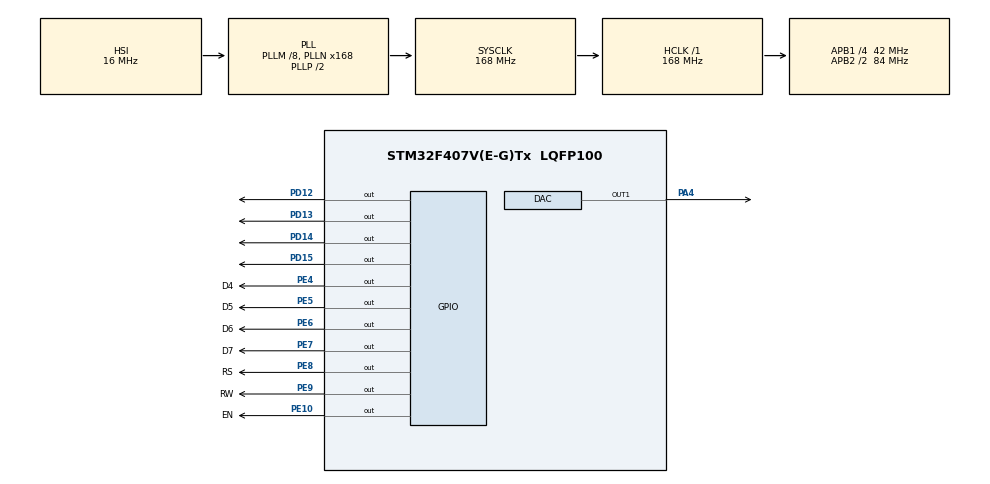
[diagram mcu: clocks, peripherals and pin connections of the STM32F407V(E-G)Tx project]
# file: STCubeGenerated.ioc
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Mcu.Family=STM32F4
Mcu.Name=STM32F407V(E-G)Tx
Mcu.Package=LQFP100
NVIC.PriorityGroup=NVIC_PRIORITYGROUP_4
PA4.Signal=COMP_DAC1_group
PD12.Signal=GPIO_Output
PD13.Signal=GPIO_Output
PD14.Signal=GPIO_Output
PD15.Signal=GPIO_Output
PE10.GPIO_Label=EN
PE10.GPIO_ModeDefaultOutputPP=GPIO_MODE_OUTPUT_PP
PE10.GPIO_PuPd=GPIO_NOPULL
PE10.Signal=GPIO_Output
PE4.GPIO_Label=D4
PE4.GPIO_ModeDefaultOutputPP=GPIO_MODE_OUTPUT_PP
PE4.GPIO_PuPd=GPIO_NOPULL
PE4.Signal=GPIO_Output
PE5.GPIO_Label=D5
PE5.GPIO_ModeDefaultOutputPP=GPIO_MODE_OUTPUT_PP
PE5.GPIO_PuPd=GPIO_NOPULL
PE5.Signal=GPIO_Output
PE6.GPIO_Label=D6
PE6.GPIO_ModeDefaultOutputPP=GPIO_MODE_OUTPUT_PP
PE6.GPIO_PuPd=GPIO_NOPULL
PE6.Signal=GPIO_Output
PE7.GPIO_Label=D7
PE7.GPIO_ModeDefaultOutputPP=GPIO_MODE_OUTPUT_PP
PE7.GPIO_PuPd=GPIO_NOPULL
PE7.Signal=GPIO_Output
PE8.GPIO_Label=RS
PE8.GPIO_ModeDefaultOutputPP=GPIO_MODE_OUTPUT_PP
PE8.GPIO_PuPd=GPIO_NOPULL
PE8.Signal=GPIO_Output
PE9.GPIO_Label=RW
PE9.GPIO_ModeDefaultOutputPP=GPIO_MODE_OUTPUT_PP
PE9.GPIO_PuPd=GPIO_NOPULL
PE9.Signal=GPIO_Output
PH0-OSC_IN.Mode=HSE-External-Oscillator
PH0-OSC_IN.Signal=RCC_OSC_IN
PH1-OSC_OUT.Mode=HSE-External-Oscillator
PH1-OSC_OUT.Signal=RCC_OSC_OUT
ProjectManager.HeapSize=0x200
ProjectManager.StackSize=0x400
ProjectManager.TargetToolchain=MDK-ARM V5
RCC.48MHZClocksFreq_Value=84000000
RCC.AHBFreq_Value=168000000
RCC.APB1CLKDivider=RCC_HCLK_DIV4
RCC.APB1Freq_Value=42000000
RCC.APB1TimFreq_Value=84000000
RCC.APB2CLKDivider=RCC_HCLK_DIV2
RCC.APB2Freq_Value=84000000
RCC.APB2TimFreq_Value=168000000
RCC.CortexFreq_Value=168000000
RCC.HCLKFreq_Value=168000000
RCC.HSE_VALUE=8000000
RCC.HSI_VALUE=16000000
RCC.LSE_VALUE=32768
RCC.PLLM=8
RCC.PLLN=168
RCC.SYSCLKFreq_VALUE=168000000
RCC.SYSCLKSource=RCC_SYSCLKSOURCE_PLLCLK
RCC.VCOOutputFreq_Value=336000000
SH.COMP_DAC1_group.0=DAC_OUT1,DAC_OUT1
board=custom

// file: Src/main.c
/* USER CODE BEGIN Header */
/**
  ******************************************************************************
  * @file           : main.c
  * @brief          : Main program body
  ******************************************************************************
  * @attention
  *
  * Copyright (c) 2023 STMicroelectronics.
  * All rights reserved.
  *
  * This software is licensed under terms that can be found in the LICENSE file
  * in the root directory of this software component.
  * If no LICENSE file comes with this software, it is provided AS-IS.
  *
  ******************************************************************************
  */
/* USER CODE END Header */
#include "main.h"

/* USER CODE BEGIN Includes */
#include "lcd.h"
#include "stdio.h"

/* USER CODE END Includes */

DAC_HandleTypeDef hdac;

void SystemClock_Config(void);
static void MX_GPIO_Init(void);
static void MX_DAC_Init(void);

int main(void)
{

  /* MCU Configuration--------------------------------------------------------*/

  /* Reset of all peripherals, Initializes the Flash interface and the Systick. */
  HAL_Init();

  /* Configure the system clock */
  SystemClock_Config();

  /* Initialize all configured peripherals */
  MX_GPIO_Init();
  MX_DAC_Init();
  /* USER CODE BEGIN 2 */

	// lcd_init
	HAL_GPIO_WritePin(RW_GPIO_Port, RW_Pin, 0);
	Lcd_PortType ports[] = { D4_GPIO_Port, D5_GPIO_Port, D6_GPIO_Port, D7_GPIO_Port };
	Lcd_PinType pins[] = {D4_Pin, D5_Pin, D6_Pin, D7_Pin};
	Lcd_HandleTypeDef lcd;
	lcd = Lcd_create(ports, pins, RS_GPIO_Port, RS_Pin, EN_GPIO_Port, EN_Pin, LCD_4_BIT_MODE);

	// write something and wait 3sec
	Lcd_string(&lcd, "BANU Embedded Sys.");
	Lcd_cursor(&lcd, 1,6);
	Lcd_int(&lcd, 2023);
	HAL_Delay(1000);

  /* USER CODE END 2 */

  /* Infinite loop */
  /* USER CODE BEGIN WHILE */

	char str[16];
	uint32_t temp=0;
	float temp2=0;
	int i;
	i=0;

  while (1)
  {

		Lcd_clear(&lcd);
		__HAL_DAC_ENABLE(&hdac, DAC_CHANNEL_1);

		for (i=0; i<5; i++)
		{

			HAL_DAC_SetValue(&hdac, DAC_CHANNEL_1, DAC_ALIGN_12B_R, ~temp);

			temp2=temp*3.0/4096;

			Lcd_cursor(&lcd, 0,0);
			snprintf(str, 16, "DAC value");
			Lcd_string(&lcd, str);
			Lcd_cursor(&lcd, 1,0);
			snprintf(str, 16, "%d = %f", temp, temp2);
			Lcd_string(&lcd, str);
			HAL_Delay(4000);

			temp+=1000;
		}
		temp=0;
		temp2=0;

		__HAL_DAC_DISABLE(&hdac, DAC_CHANNEL_1);

    /* USER CODE END WHILE */

  }
}

void SystemClock_Config(void)
{
  RCC_OscInitTypeDef RCC_OscInitStruct = {0};
  RCC_ClkInitTypeDef RCC_ClkInitStruct = {0};

  /** Configure the main internal regulator output voltage
  */
  __HAL_RCC_PWR_CLK_ENABLE();
  __HAL_PWR_VOLTAGESCALING_CONFIG(PWR_REGULATOR_VOLTAGE_SCALE1);

  /** Initializes the RCC Oscillators according to the specified parameters
  * in the RCC_OscInitTypeDef structure.
  */
  RCC_OscInitStruct.OscillatorType = RCC_OSCILLATORTYPE_HSI;
  RCC_OscInitStruct.HSIState = RCC_HSI_ON;
  RCC_OscInitStruct.HSICalibrationValue = RCC_HSICALIBRATION_DEFAULT;
  RCC_OscInitStruct.PLL.PLLState = RCC_PLL_ON;
  RCC_OscInitStruct.PLL.PLLSource = RCC_PLLSOURCE_HSI;
  RCC_OscInitStruct.PLL.PLLM = 8;
  RCC_OscInitStruct.PLL.PLLN = 168;
  RCC_OscInitStruct.PLL.PLLP = RCC_PLLP_DIV2;
  RCC_OscInitStruct.PLL.PLLQ = 4;
  if (HAL_RCC_OscConfig(&RCC_OscInitStruct) != HAL_OK)
  {
    Error_Handler();
  }

  /** Initializes the CPU, AHB and APB buses clocks
  */
  RCC_ClkInitStruct.ClockType = RCC_CLOCKTYPE_HCLK|RCC_CLOCKTYPE_SYSCLK
                              |RCC_CLOCKTYPE_PCLK1|RCC_CLOCKTYPE_PCLK2;
  RCC_ClkInitStruct.SYSCLKSource = RCC_SYSCLKSOURCE_PLLCLK;
  RCC_ClkInitStruct.AHBCLKDivider = RCC_SYSCLK_DIV1;
  RCC_ClkInitStruct.APB1CLKDivider = RCC_HCLK_DIV4;
  RCC_ClkInitStruct.APB2CLKDivider = RCC_HCLK_DIV2;

  if (HAL_RCC_ClockConfig(&RCC_ClkInitStruct, FLASH_LATENCY_5) != HAL_OK)
  {
    Error_Handler();
  }
}

static void MX_DAC_Init(void)
{

  DAC_ChannelConfTypeDef sConfig = {0};

  /** DAC Initialization
  */
  hdac.Instance = DAC;
  if (HAL_DAC_Init(&hdac) != HAL_OK)
  {
    Error_Handler();
  }

  /** DAC channel OUT1 config
  */
  sConfig.DAC_Trigger = DAC_TRIGGER_NONE;
  sConfig.DAC_OutputBuffer = DAC_OUTPUTBUFFER_ENABLE;
  if (HAL_DAC_ConfigChannel(&hdac, &sConfig, DAC_CHANNEL_1) != HAL_OK)
  {
    Error_Handler();
  }

}

static void MX_GPIO_Init(void)
{
  GPIO_InitTypeDef GPIO_InitStruct = {0};

  /* GPIO Ports Clock Enable */
  __HAL_RCC_GPIOE_CLK_ENABLE();
  __HAL_RCC_GPIOH_CLK_ENABLE();
  __HAL_RCC_GPIOA_CLK_ENABLE();
  __HAL_RCC_GPIOD_CLK_ENABLE();

  /*Configure GPIO pin Output Level */
  HAL_GPIO_WritePin(GPIOE, D4_Pin|D5_Pin|D6_Pin|D7_Pin
                          |RS_Pin|RW_Pin|EN_Pin, GPIO_PIN_RESET);

  /*Configure GPIO pin Output Level */
  HAL_GPIO_WritePin(GPIOD, GPIO_PIN_12|GPIO_PIN_13|GPIO_PIN_14|GPIO_PIN_15, GPIO_PIN_RESET);

  /*Configure GPIO pins : D4_Pin D5_Pin D6_Pin D7_Pin
                           RS_Pin RW_Pin EN_Pin */
  GPIO_InitStruct.Pin = D4_Pin|D5_Pin|D6_Pin|D7_Pin
                          |RS_Pin|RW_Pin|EN_Pin;
  GPIO_InitStruct.Mode = GPIO_MODE_OUTPUT_PP;
  GPIO_InitStruct.Pull = GPIO_NOPULL;
  GPIO_InitStruct.Speed = GPIO_SPEED_FREQ_LOW;
  HAL_GPIO_Init(GPIOE, &GPIO_InitStruct);

  /*Configure GPIO pins : PD12 PD13 PD14 PD15 */
  GPIO_InitStruct.Pin = GPIO_PIN_12|GPIO_PIN_13|GPIO_PIN_14|GPIO_PIN_15;
  GPIO_InitStruct.Mode = GPIO_MODE_OUTPUT_PP;
  GPIO_InitStruct.Pull = GPIO_NOPULL;
  GPIO_InitStruct.Speed = GPIO_SPEED_FREQ_LOW;
  HAL_GPIO_Init(GPIOD, &GPIO_InitStruct);

}

void Error_Handler(void)
{
  __disable_irq();
  while (1)
  {
  }
}
